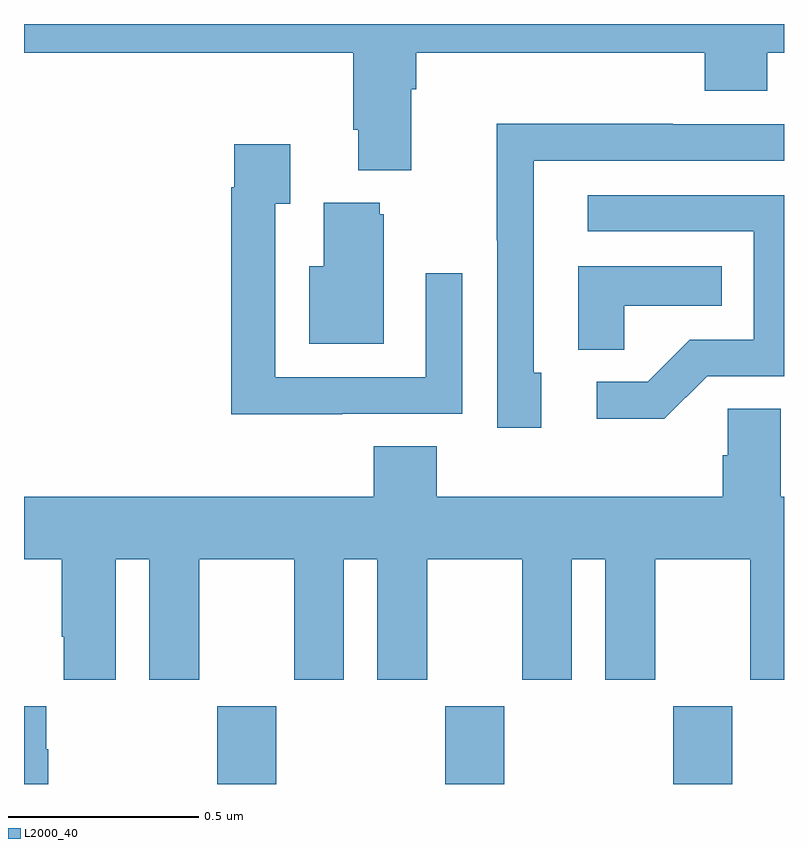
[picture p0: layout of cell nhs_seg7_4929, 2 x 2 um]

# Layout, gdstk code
import gdstk
lib = gdstk.Library(unit=1e-6, precision=1e-09)
def R(c, l, rs):  # rectangles x0, y0, x1, y1
    for r in rs: c.add(gdstk.rectangle(r[:2], r[2:], *l))
def A(c, l, x, y, w, h, nx, ny, dx, dy):  # array of equal rectangles
    R(c, l, [(x+i*dx, y+j*dy, x+i*dx+w, y+j*dy+h) for i in range(nx) for j in range(ny)])
def P(c, l, *ps):  # polygons
    for p in ps: c.add(gdstk.Polygon(p, *l))
L2000_40 = (2000, 40)

nhs_seg7_4929 = lib.new_cell('nhs_seg7_4929')
A(nhs_seg7_4929, L2000_40, 179.509, 1024, 0.155, 0.204, 3, 1, 0.6, 0)
P(nhs_seg7_4929, L2000_40, [(180.019,1025.828),(180.032,1025.828),(180.032,1025.924),(180.791,1025.924),(180.791,1025.825),(180.956,1025.825),(180.956,1025.924),(181,1025.924),(181,1026),(179,1026),(179,1025.924),(179.867,1025.924),(179.867,1025.722),(179.879,1025.722),(179.879,1025.615),(180.019,1025.615)],
  [(180.361,1025.082),(180.342,1025.082),(180.342,1025.64),(181,1025.64),(181,1025.736),(180.707,1025.736),(180.707,1025.738),(180.244,1025.738),(180.244,1025.431),(180.246,1025.431),(180.246,1024.938),(180.361,1024.938)],
  [(179.837,1024.974),(180.153,1024.974),(180.153,1025.344),(180.057,1025.344),(180.057,1025.07),(179.661,1025.07),(179.661,1025.527),(179.701,1025.527),(179.701,1025.683),(179.553,1025.683),(179.553,1025.57),(179.545,1025.57),(179.545,1024.973),(179.837,1024.973)],
  [(180.798,1025.073),(181,1025.073),(181,1025.55),(180.483,1025.55),(180.483,1025.454),(180.921,1025.454),(180.921,1025.169),(180.752,1025.169),(180.641,1025.058),(180.507,1025.058),(180.507,1024.961),(180.685,1024.961)],
  [(179.947,1025.499),(179.936,1025.499),(179.936,1025.53),(179.789,1025.53),(179.789,1025.362),(179.75,1025.362),(179.75,1025.159),(179.947,1025.159)],
  [(180.579,1025.258),(180.836,1025.258),(180.836,1025.362),(180.458,1025.362),(180.458,1025.143),(180.579,1025.143)],
  [(179.242,1024.592),(179.33,1024.592),(179.33,1024.275),(179.461,1024.275),(179.461,1024.592),(179.711,1024.592),(179.711,1024.275),(179.842,1024.275),(179.842,1024.592),(179.93,1024.592),(179.93,1024.275),(180.061,1024.275),(180.061,1024.592),(180.311,1024.592),(180.311,1024.275),(180.442,1024.275),(180.442,1024.592),(180.53,1024.592),(180.53,1024.275),(180.661,1024.275),(180.661,1024.592),(180.911,1024.592),(180.911,1024.275),(181,1024.275),(181,1024.756),(180.991,1024.756),(180.991,1024.988),(180.852,1024.988),(180.852,1024.865),(180.839,1024.865),(180.839,1024.756),(180.086,1024.756),(180.086,1024.889),(179.921,1024.889),(179.921,1024.756),(179,1024.756),(179,1024.592),(179.099,1024.592),(179.099,1024.387),(179.105,1024.387),(179.105,1024.275),(179.242,1024.275)],
  [(179.064,1024.091),(179.059,1024.091),(179.059,1024.204),(179,1024.204),(179,1024),(179.064,1024)])

lib.write_gds('nhs_seg7_4929.gds')
